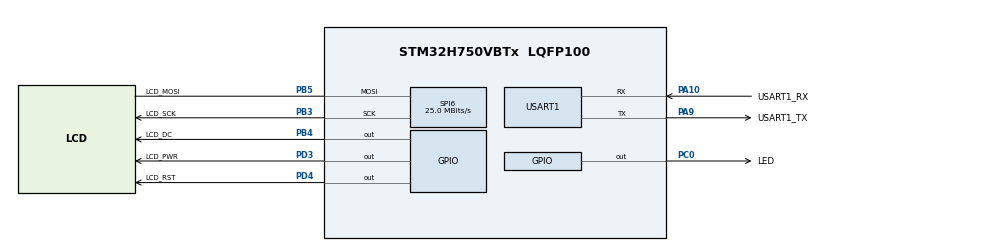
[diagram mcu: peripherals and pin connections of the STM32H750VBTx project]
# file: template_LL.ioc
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Mcu.Family=STM32H7
Mcu.Name=STM32H750VBTx
Mcu.Package=LQFP100
NVIC.PriorityGroup=NVIC_PRIORITYGROUP_2
NVIC.USART1_IRQn=true\:3\:2\:true\:false\:true\:true\:true\:true
PA10.GPIO_Label=USART1_RX
PA10.GPIO_Speed=GPIO_SPEED_FREQ_HIGH
PA10.Mode=Asynchronous
PA10.Signal=USART1_RX
PA13\ (JTMS/SWDIO).Mode=Serial_Wire
PA13\ (JTMS/SWDIO).Signal=DEBUG_JTMS-SWDIO
PA14\ (JTCK/SWCLK).Mode=Serial_Wire
PA14\ (JTCK/SWCLK).Signal=DEBUG_JTCK-SWCLK
PA9.GPIO_Label=USART1_TX
PA9.GPIO_Speed=GPIO_SPEED_FREQ_HIGH
PA9.Mode=Asynchronous
PA9.Signal=USART1_TX
PB3\ (JTDO/TRACESWO).GPIO_Label=LCD_SCK
PB3\ (JTDO/TRACESWO).GPIO_PuPd=GPIO_NOPULL
PB3\ (JTDO/TRACESWO).GPIO_Speed=GPIO_SPEED_FREQ_MEDIUM
PB3\ (JTDO/TRACESWO).Mode=Simplex_Bidirectional_Master
PB3\ (JTDO/TRACESWO).Signal=SPI6_SCK
PB4\ (NJTRST).GPIO_Label=LCD_DC
PB4\ (NJTRST).GPIO_PuPd=GPIO_PULLUP
PB4\ (NJTRST).GPIO_Speed=GPIO_SPEED_FREQ_MEDIUM
PB4\ (NJTRST).PinState=GPIO_PIN_SET
PB4\ (NJTRST).Signal=GPIO_Output
PB5.GPIO_Label=LCD_MOSI
PB5.GPIO_PuPd=GPIO_NOPULL
PB5.GPIO_Speed=GPIO_SPEED_FREQ_MEDIUM
PB5.Mode=Simplex_Bidirectional_Master
PB5.Signal=SPI6_MOSI
PC0.GPIO_Label=LED
PC0.GPIO_PuPd=GPIO_PULLUP
PC0.PinState=GPIO_PIN_SET
PC0.Signal=GPIO_Output
PD3.GPIO_Label=LCD_PWR
PD3.GPIO_ModeDefaultOutputPP=GPIO_MODE_OUTPUT_PP
PD3.GPIO_PuPd=GPIO_PULLUP
PD3.GPIO_Speed=GPIO_SPEED_FREQ_MEDIUM
PD3.PinState=GPIO_PIN_SET
PD3.Signal=GPIO_Output
PD4.GPIO_Label=LCD_RST
PD4.GPIO_ModeDefaultOutputPP=GPIO_MODE_OUTPUT_PP
PD4.GPIO_PuPd=GPIO_PULLUP
PD4.GPIO_Speed=GPIO_SPEED_FREQ_MEDIUM
PD4.PinState=GPIO_PIN_SET
PD4.Signal=GPIO_Output
PH0-OSC_IN\ (PH0).Mode=HSE-External-Oscillator
PH0-OSC_IN\ (PH0).Signal=RCC_OSC_IN
PH1-OSC_OUT\ (PH1).Mode=HSE-External-Oscillator
PH1-OSC_OUT\ (PH1).Signal=RCC_OSC_OUT
ProjectManager.HeapSize=0x200
ProjectManager.StackSize=0x400
ProjectManager.TargetToolchain=MDK-ARM V5.32
RCC.ADCFreq_Value=48000000
RCC.APB1Freq_Value=100000000
RCC.APB2Freq_Value=100000000
RCC.APB3Freq_Value=100000000
RCC.APB4Freq_Value=100000000
RCC.CortexFreq_Value=50000000
RCC.Cortex_Div=SYSTICK_CLKSOURCE_HCLK_DIV8
RCC.D1PPRE=RCC_APB3_DIV2
RCC.D2PPRE1=RCC_APB1_DIV2
RCC.D2PPRE2=RCC_APB2_DIV2
RCC.D3PPRE=RCC_APB4_DIV2
RCC.DIVM1=5
RCC.DIVM2=25
RCC.DIVM3=10
RCC.DIVN1=160
RCC.DIVN2=96
RCC.DIVN3=160
RCC.HCLKFreq_Value=200000000
RCC.HPRE=RCC_HCLK_DIV2
RCC.PLL2FRACN=0
RCC.PLL3FRACN=0
RCC.PLLFRACN=0
RCC.PLLSourceVirtual=RCC_PLLSOURCE_HSE
RCC.SYSCLKFreq_VALUE=400000000
RCC.SYSCLKSource=RCC_SYSCLKSOURCE_PLLCLK
RCC.USBFreq_Value=400000000
SPI6.BaudRatePrescaler=SPI_BAUDRATEPRESCALER_4
SPI6.CLKPhase=SPI_PHASE_2EDGE
SPI6.CLKPolarity=SPI_POLARITY_HIGH
SPI6.CalculateBaudRate=25.0 MBits/s
SPI6.DataSize=SPI_DATASIZE_8BIT
SPI6.Direction=SPI_DIRECTION_1LINE
SPI6.Mode=SPI_MODE_MASTER
SPI6.VirtualType=VM_MASTER
USART1.DMADisableonRxErrorParam=ADVFEATURE_DMA_DISABLEONRXERROR
USART1.OverrunDisableParam=ADVFEATURE_OVERRUN_DISABLE
USART1.TXFIFOThreshold=TXFIFO_THRESHOLD_EMPTY
USART1.VirtualMode-Asynchronous=VM_ASYNC
board=custom

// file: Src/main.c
/* USER CODE BEGIN Header */
/**
  ******************************************************************************
  * @file           : main.c
  * @brief          : Main program body
  ******************************************************************************
  * @attention
  *
  * Copyright (c) 2023 STMicroelectronics.
  * All rights reserved.
  *
  * This software is licensed under terms that can be found in the LICENSE file
  * in the root directory of this software component.
  * If no LICENSE file comes with this software, it is provided AS-IS.
  *
  ******************************************************************************
  */
/* USER CODE END Header */
#include "main.h"
#include "spi.h"
#include "usart.h"
#include "gpio.h"

/* USER CODE BEGIN Includes */
#include "Led.h"
#include "Usart1.h"
#include "Lcd.h"

//  shell文件
#include "nr_micro_shell.h"
#include "my_shell_func.h"

#include "stdlib.h"
/* USER CODE END Includes */

/* USER CODE BEGIN PTD */

TaskHandle_t  task_initial_handle;   //定义函数句柄，用于接收参数
void task_initial(void *pvParameters);    //函数声明一下

/* USER CODE END PTD */

void SystemClock_Config(void);

int main(void)
{

  /* MCU Configuration--------------------------------------------------------*/

  /* Reset of all peripherals, Initializes the Flash interface and the Systick. */
  LL_APB4_GRP1_EnableClock(LL_APB4_GRP1_PERIPH_SYSCFG);

  /* System interrupt init*/
  NVIC_SetPriorityGrouping(NVIC_PRIORITYGROUP_2);

  /* SysTick_IRQn interrupt configuration */
  NVIC_SetPriority(SysTick_IRQn, NVIC_EncodePriority(NVIC_GetPriorityGrouping(),3, 3));

  /* Configure the system clock */
  SystemClock_Config();

  /* Initialize all configured peripherals */
  MX_GPIO_Init();
  MX_SPI6_Init();
  MX_USART1_UART_Init();
  /* USER CODE BEGIN 2 */
	USART1_Data_Array = (struct USART_Data_Array_Struc *)pvPortMalloc(sizeof(struct USART_Data_Array_Struc));      //必须要malloc一下 ;
	USART_Data_Array_Struc_Initialize(USART1_Data_Array,USART1_DATA_Array_Length);   //初始化USART1的缓冲区
	LCD_Init();
	LCD_Clear(WHITE); 		//清屏
	shell_init();         //初始化shell
	//在这个地方创建FreeRTOS的Task

	xTaskCreate( (TaskFunction_t) task_initial,     //这里的函数名字其实就是函数指针
								(const char *)"task_initial",     //任务的名字，主要是调试的时候用的
								(uint16_t)     128,       //任务堆栈的大小  一般就是128，然后FreeRTOSConfig.h默认的堆栈大小为130，这个是可以改的
								(void *) NULL,            //传给函数的参数
								(UBaseType_t)  1,        //优先级  这个函数优先级设的高一点，很重要的函数
								(TaskHandle_t *) &task_initial_handle
								);                        // 传出来的任务句柄，后续对该任务进行操作使用该句柄就可以

  /* USER CODE END 2 */

  /* Infinite loop */
  /* USER CODE BEGIN WHILE */

	vTaskStartScheduler();

    /* USER CODE END WHILE */

}

void SystemClock_Config(void)
{
  LL_FLASH_SetLatency(LL_FLASH_LATENCY_2);
  while(LL_FLASH_GetLatency()!= LL_FLASH_LATENCY_2)
  {
  }
  LL_PWR_ConfigSupply(LL_PWR_LDO_SUPPLY);
  LL_PWR_SetRegulVoltageScaling(LL_PWR_REGU_VOLTAGE_SCALE1);
  while (LL_PWR_IsActiveFlag_VOS() == 0)
  {
  }
  LL_RCC_HSE_Enable();

   /* Wait till HSE is ready */
  while(LL_RCC_HSE_IsReady() != 1)
  {

  }
  LL_RCC_PLL_SetSource(LL_RCC_PLLSOURCE_HSE);
  LL_RCC_PLL1P_Enable();
  LL_RCC_PLL1R_Enable();
  LL_RCC_PLL1_SetVCOInputRange(LL_RCC_PLLINPUTRANGE_4_8);
  LL_RCC_PLL1_SetVCOOutputRange(LL_RCC_PLLVCORANGE_WIDE);
  LL_RCC_PLL1_SetM(5);
  LL_RCC_PLL1_SetN(160);
  LL_RCC_PLL1_SetP(2);
  LL_RCC_PLL1_SetQ(2);
  LL_RCC_PLL1_SetR(2);
  LL_RCC_PLL1_Enable();

   /* Wait till PLL is ready */
  while(LL_RCC_PLL1_IsReady() != 1)
  {
  }

   /* Intermediate AHB prescaler 2 when target frequency clock is higher than 80 MHz */
   LL_RCC_SetAHBPrescaler(LL_RCC_AHB_DIV_2);

  LL_RCC_SetSysClkSource(LL_RCC_SYS_CLKSOURCE_PLL1);

   /* Wait till System clock is ready */
  while(LL_RCC_GetSysClkSource() != LL_RCC_SYS_CLKSOURCE_STATUS_PLL1)
  {

  }
  LL_RCC_SetSysPrescaler(LL_RCC_SYSCLK_DIV_1);
  LL_RCC_SetAHBPrescaler(LL_RCC_AHB_DIV_2);
  LL_RCC_SetAPB1Prescaler(LL_RCC_APB1_DIV_2);
  LL_RCC_SetAPB2Prescaler(LL_RCC_APB2_DIV_2);
  LL_RCC_SetAPB3Prescaler(LL_RCC_APB3_DIV_2);
  LL_RCC_SetAPB4Prescaler(LL_RCC_APB4_DIV_2);

  LL_Init1msTick(50000000);

  LL_SetSystemCoreClock(400000000);
}

/* USER CODE BEGIN 4 */
// FreeRTOS的任务初始化函数
void task_initial(void *pvParameters)
{
	taskENTER_CRITICAL();        //进入临界区，防止别的函数打断，因为创建函数任务很重要

	xTaskCreate( (TaskFunction_t) LCD_Show,     //这里的函数名字其实就是函数指针
								(const char *)"LCD_Show",     //任务的名字，主要是调试的时候用的
								(uint16_t)     128,       //任务堆栈的大小  一般就是128，然后FreeRTOSConfig.h默认的堆栈大小为130，这个是可以改的
								(void *) NULL,           //传给函数的参数
								(UBaseType_t)  4,        //优先级  这个函数优先级设的高一点，很重要的函数
								(TaskHandle_t *) &LCD_Show_handle
								);

	xTaskCreate( (TaskFunction_t) Shell_Init,     //这里的函数名字其实就是函数指针
								(const char *)"Shell_Init",     //任务的名字，主要是调试的时候用的
								(uint16_t)     1024,       //任务堆栈的大小  一般就是128，然后FreeRTOSConfig.h默认的堆栈大小为130，这个是可以改的
								(void *) NULL,           //传给函数的参数
								(UBaseType_t)  2,        //优先级  这个函数优先级设的高一点，很重要的函数
								(TaskHandle_t *) &Shell_Init_handle
								);

	vTaskDelete(NULL);       //创建完函数，这个函数就没有用了  删除自己传参为NULL

	taskEXIT_CRITICAL();         //退出临界区

}

/* USER CODE END 4 */

void Error_Handler(void)
{
  __disable_irq();
  while (1)
  {
  }
}
